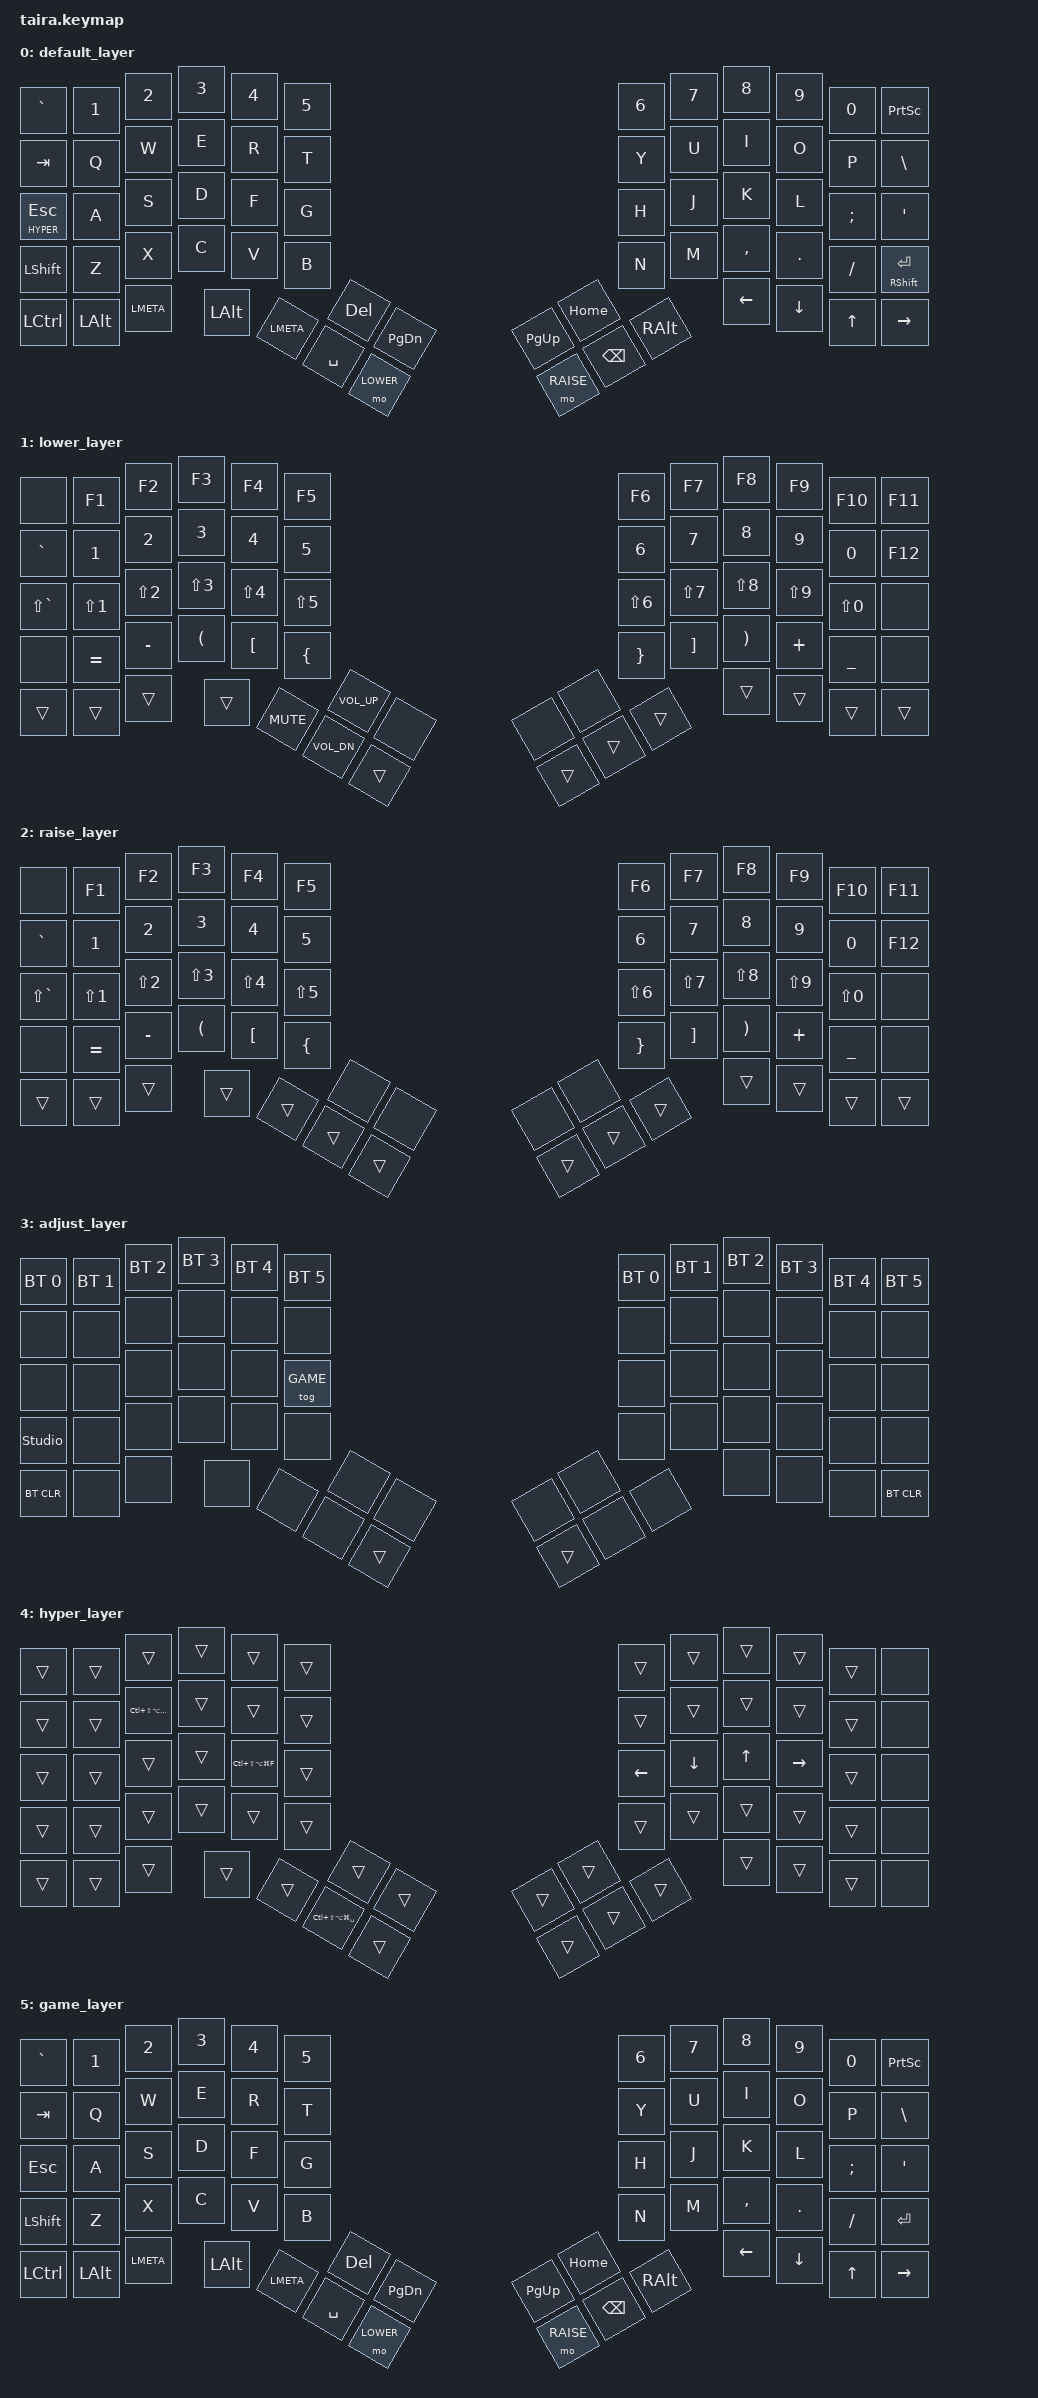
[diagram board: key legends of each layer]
/*
 * Copyright (c) 2020 The ZMK Contributors
 *
 * SPDX-License-Identifier: MIT
 */

#include <behaviors.dtsi>
#include <dt-bindings/zmk/keys.h>
#include <dt-bindings/zmk/outputs.h>
#include <dt-bindings/zmk/bt.h>

#define DEFAULT 0
#define LOWER   1
#define RAISE   2
#define ADJUST  3
#define HYPER   4
#define GAME    5

/ {

        conditional_layers {
                compatible = "zmk,conditional-layers";

                tri_layer {
                        if-layers  = <1 2>;
                        then-layer = <3>;
                };
        };

        keymap {
                compatible = "zmk,keymap";

                default_layer {
/* QWERTY
 * .----------------------------------------------------------------------------------------------------------------------------------.
 * |  `   |   1  |   2  |   3  |   4  |   5  |                                              |   6  |   7  |   8  |   9  |   0  | PScr |
 * |-------------+------+------+------+------+------+------+-------+-+-------+-------+------+------+------+------+------+------+------|
 * | ESC  |   Q  |   W  |   E  |   R  |   T  |                                              |   Y  |   U  |   I  |   O  |   P  |  \   |
 * |-------------+------+------+------+------+------+------+-------+-+-------+-------+------+------+------+------+------+------+------|
 * | Tab  |   A  |   S  |   D  |   F  |   G  |                                              |   H  |   J  |   K  |   L  |   ;  |  '   |
 * |-------------+------+------+------+------+------+------+-------+-+-------+-------+------+------+------+------+------+------+------|
 * | Shift|   Z  |   X  |   C  |   V  |   B  |      | Del  | PGDN  | | PGUP  | Home  |      |   N  |   M  |   ,  |   .  |   /  | Shift|
 * |-------------+------+------+------+------+------+------+-------+-+-------+-------+------+------+------+------+------+------+------|
 * | Ctrl | Alt  | Meta | Alt  |             | Meta | Space| Lower | | Raise | Enter | RAlt |             | LEFT | DOWN | UP   | RIGHT|
 * .----------------------------------------------------------------------------------------------------------------------------------.
 */
                        bindings = <
&kp  GRAVE    &kp  N1    &kp  N2     &kp  N3     &kp  N4    &kp  N5                                                                        &kp  N6  &kp  N7    &kp  N8     &kp  N9    &kp  N0       &kp  PSCRN
&kp  TAB      &kp  Q     &kp  W      &kp  E      &kp  R     &kp  T                                                                         &kp  Y   &kp  U     &kp  I      &kp  O     &kp  P        &kp  BSLH
&lt HYPER ESC &kp  A     &kp  S      &kp  D      &kp  F     &kp  G                                                                         &kp  H   &kp  J     &kp  K      &kp  L     &kp  SEMI     &kp  SQT
&kp  LSHFT    &kp  Z     &kp  X      &kp  C      &kp  V     &kp  B             &kp  DEL    &kp  PG_DN    &kp  PG_UP  &kp  HOME             &kp  N   &kp  M     &kp  COMMA  &kp  DOT   &kp  SLASH    &mt  RSHFT ENTER
&kp  LCTRL    &kp LALT   &kp  LMETA  &kp  LALT                       &kp LMETA &kp  SPACE  &mo  LOWER    &mo  RAISE  &kp  BSPC &kp  RALT                       &kp  LEFT   &kp  DOWN  &kp  UP       &kp  RIGHT
                        >;
                };

                lower_layer {
/* QWERTY
 * .----------------------------------------------------------------------------------------------------------------------------------.
 * |  `   |   1  |   2  |   3  |   4  |   5  |                                              |   6  |   7  |   8  |   9  |   0  | PScr |
 * |-------------+------+------+------+------+------+------+-------+-+-------+-------+------+------+------+------+------+------+------|
 * | ESC  |   Q  |   W  |   E  |   R  |   T  |                                              |   Y  |   U  |   I  |   O  |   P  |  \   |
 * |-------------+------+------+------+------+------+------+-------+-+-------+-------+------+------+------+------+------+------+------|
 * | Tab  |   A  |   S  |   D  |   F  |   G  |                                              |   H  |   J  |   K  |   L  |   ;  |  '   |
 * |-------------+------+------+------+------+------+------+-------+-+-------+-------+------+------+------+------+------+------+------|
 * | Shift|   Z  |   X  |   C  |   V  |   B  |      | Del  | PGDN  | | PGUP  | Home  |      |   N  |   M  |   ,  |   .  |   /  | Shift|
 * |-------------+------+------+------+------+------+------+-------+-+-------+-------+------+------+------+------+------+------+------|
 * | Ctrl | Alt  | Meta | Alt  |             | Meta | Space| Lower | | Raise | Enter | RAlt |             | LEFT | DOWN | UP   | RIGHT|
 * .----------------------------------------------------------------------------------------------------------------------------------.
 */
                        bindings = <
&none          &kp  F1      &kp  F2      &kp  F3     &kp  F4     &kp  F5                                                                        &kp  F6    &kp  F7    &kp  F8     &kp  F9    &kp  F10      &kp  F11
&kp  GRAVE     &kp  N1      &kp  N2      &kp  N3     &kp  N4     &kp  N5                                                                        &kp  N6    &kp  N7    &kp  N8     &kp  N9    &kp  N0       &kp  F12
&kp  LS(GRAVE) &kp LS(N1)   &kp  LS(N2)  &kp  LS(N3) &kp  LS(N4) &kp  LS(N5)                                                                    &kp LS(N6) &kp LS(N7) &kp LS(N8)  &kp LS(N9) &kp  LS(N0)   &none
&none          &kp EQUAL    &kp MINUS    &kp  LPAR   &kp  LBKT   &kp  LBRC          &kp C_VOL_UP       &none         &none       &none                 &kp RBRC   &kp RBKT   &kp RPAR    &kp PLUS   &kp  UNDER    &none
&trans         &trans       &trans       &trans                           &kp C_MUTE    &kp C_VOL_DN      &trans        &trans      &trans    &trans                            &trans      &trans     &trans        &trans
                        >;
                };

                raise_layer {
/* QWERTY
 * .----------------------------------------------------------------------------------------------------------------------------------.
 * |  `   |   1  |   2  |   3  |   4  |   5  |                                              |   6  |   7  |   8  |   9  |   0  | PScr |
 * |-------------+------+------+------+------+------+------+-------+-+-------+-------+------+------+------+------+------+------+------|
 * | ESC  |   Q  |   W  |   E  |   R  |   T  |                                              |   Y  |   U  |   I  |   O  |   P  |  \   |
 * |-------------+------+------+------+------+------+------+-------+-+-------+-------+------+------+------+------+------+------+------|
 * | Tab  |   A  |   S  |   D  |   F  |   G  |                                              |   H  |   J  |   K  |   L  |   ;  |  '   |
 * |-------------+------+------+------+------+------+------+-------+-+-------+-------+------+------+------+------+------+------+------|
 * | Shift|   Z  |   X  |   C  |   V  |   B  |      | Del  | PGDN  | | PGUP  | Home  |      |   N  |   M  |   ,  |   .  |   /  | Shift|
 * |-------------+------+------+------+------+------+------+-------+-+-------+-------+------+------+------+------+------+------+------|
 * | Ctrl | Alt  | Meta | Alt  |             | Meta | Space| Lower | | Raise | Enter | RAlt |             | LEFT | DOWN | UP   | RIGHT|
 * .----------------------------------------------------------------------------------------------------------------------------------.
 */
                        bindings = <
&none          &kp  F1      &kp  F2      &kp  F3     &kp  F4     &kp  F5                                                                        &kp  F6    &kp  F7    &kp  F8     &kp  F9    &kp  F10      &kp  F11
&kp  GRAVE     &kp  N1      &kp  N2      &kp  N3     &kp  N4     &kp  N5                                                                        &kp  N6    &kp  N7    &kp  N8     &kp  N9    &kp  N0       &kp  F12
&kp  LS(GRAVE) &kp LS(N1)   &kp  LS(N2)  &kp  LS(N3) &kp  LS(N4) &kp  LS(N5)                                                                    &kp LS(N6) &kp LS(N7) &kp LS(N8)  &kp LS(N9) &kp  LS(N0)   &none
&none          &kp EQUAL    &kp MINUS    &kp  LPAR   &kp  LBKT   &kp  LBRC          &none       &none         &none       &none                 &kp RBRC   &kp RBKT   &kp RPAR    &kp PLUS   &kp  UNDER    &none
&trans         &trans       &trans       &trans                           &trans    &trans      &trans        &trans      &trans    &trans                            &trans      &trans     &trans        &trans
                        >;
                };

                adjust_layer {
/* QWERTY
 * .----------------------------------------------------------------------------------------------------------------------------------.
 * |  `   |   1  |   2  |   3  |   4  |   5  |                                              |   6  |   7  |   8  |   9  |   0  | PScr |
 * |-------------+------+------+------+------+------+------+-------+-+-------+-------+------+------+------+------+------+------+------|
 * | ESC  |   Q  |   W  |   E  |   R  |   T  |                                              |   Y  |   U  |   I  |   O  |   P  |  \   |
 * |-------------+------+------+------+------+------+------+-------+-+-------+-------+------+------+------+------+------+------+------|
 * | Tab  |   A  |   S  |   D  |   F  |   G  |                                              |   H  |   J  |   K  |   L  |   ;  |  '   |
 * |-------------+------+------+------+------+------+------+-------+-+-------+-------+------+------+------+------+------+------+------|
 * | Shift|   Z  |   X  |   C  |   V  |   B  |      | Del  | PGDN  | | PGUP  | Home  |      |   N  |   M  |   ,  |   .  |   /  | Shift|
 * |-------------+------+------+------+------+------+------+-------+-+-------+-------+------+------+------+------+------+------+------|
 * | Ctrl | Alt  | Meta | Alt  |             | Meta | Space| Lower | | Raise | Enter | RAlt |             | LEFT | DOWN | UP   | RIGHT|
 * .----------------------------------------------------------------------------------------------------------------------------------.
 */
                        bindings = <
&bt BT_SEL 0 &bt BT_SEL 1 &bt BT_SEL 2 &bt BT_SEL 3 &bt BT_SEL 4 &bt BT_SEL 5                                                                          &bt BT_SEL 0 &bt BT_SEL 1 &bt BT_SEL 2 &bt BT_SEL 3 &bt BT_SEL 4 &bt BT_SEL 5
&none        &none        &none        &none        &none        &none                                                                                 &none        &none        &none        &none        &none        &none
&none        &none        &none        &none        &none        &tog GAME                                                                             &none        &none        &none        &none        &none        &none
&studio_unlock &none        &none        &none        &none        &none                     &none       &none         &none       &none                 &none        &none        &none        &none        &none        &none
&bt BT_CLR   &none        &none        &none                                     &none     &none       &trans        &trans      &none     &none                                 &none        &none        &none        &bt BT_CLR
                        >;
                };

                hyper_layer {
/* QWERTY
 * .----------------------------------------------------------------------------------------------------------------------------------.
 * |  `   |   1  |   2  |   3  |   4  |   5  |                                              |   6  |   7  |   8  |   9  |   0  | PScr |
 * |-------------+------+------+------+------+------+------+-------+-+-------+-------+------+------+------+------+------+------+------|
 * | ESC  |   Q  |   W  |   E  |   R  |   T  |                                              |   Y  |   U  |   I  |   O  |   P  |  \   |
 * |-------------+------+------+------+------+------+------+-------+-+-------+-------+------+------+------+------+------+------+------|
 * | Tab  |   A  |   S  |   D  |   F  |   G  |                                              |   H  |   J  |   K  |   L  |   ;  |  '   |
 * |-------------+------+------+------+------+------+------+-------+-+-------+-------+------+------+------+------+------+------+------|
 * | Shift|   Z  |   X  |   C  |   V  |   B  |      | Del  | PGDN  | | PGUP  | Home  |      |   N  |   M  |   ,  |   .  |   /  | Shift|
 * |-------------+------+------+------+------+------+------+-------+-+-------+-------+------+------+------+------+------+------+------|
 * | Ctrl | Alt  | Meta | Alt  |             | Meta | Space| Lower | | Raise | Enter | RAlt |             | LEFT | DOWN | UP   | RIGHT|
 * .----------------------------------------------------------------------------------------------------------------------------------.
 */
                        bindings = <
&trans        &trans     &trans      &trans      &trans      &trans                                                                         &trans   &trans     &trans      &trans     &trans        &none
&trans        &trans     &kp LC(LS(LA(LG(W)))) &trans      &trans      &trans                                                                         &trans   &trans     &trans      &trans     &trans        &none
&trans        &trans     &trans      &trans      &kp LC(LS(LA(LG(F)))) &trans                                                                         &kp LEFT &kp DOWN   &kp UP      &kp RIGHT  &trans        &none
&trans        &trans     &trans      &trans      &trans      &trans             &trans      &trans        &trans      &trans                &trans   &trans     &trans      &trans     &trans        &none
&trans        &trans     &trans      &trans                           &trans    &kp LC(LS(LA(LG(SPACE))))       &trans        &trans      &trans    &trans                          &trans      &trans     &trans        &none
                        >;
                };

                game_layer {
                        bindings = <
&kp  GRAVE    &kp  N1    &kp  N2     &kp  N3     &kp  N4    &kp  N5                                                                        &kp  N6  &kp  N7    &kp  N8     &kp  N9    &kp  N0       &kp  PSCRN
&kp  TAB      &kp  Q     &kp  W      &kp  E      &kp  R     &kp  T                                                                         &kp  Y   &kp  U     &kp  I      &kp  O     &kp  P        &kp  BSLH
&kp  ESC      &kp  A     &kp  S      &kp  D      &kp  F     &kp  G                                                                         &kp  H   &kp  J     &kp  K      &kp  L     &kp  SEMI     &kp  SQT
&kp  LSHFT    &kp  Z     &kp  X      &kp  C      &kp  V     &kp  B             &kp  DEL    &kp  PG_DN    &kp  PG_UP  &kp  HOME             &kp  N   &kp  M     &kp  COMMA  &kp  DOT   &kp  SLASH    &kp  ENTER
&kp  LCTRL    &kp LALT   &kp  LMETA  &kp  LALT                       &kp LMETA &kp  SPACE  &mo  LOWER    &mo  RAISE  &kp  BSPC &kp  RALT                       &kp  LEFT   &kp  DOWN  &kp  UP       &kp  RIGHT
                        >;
                };
        };
};
